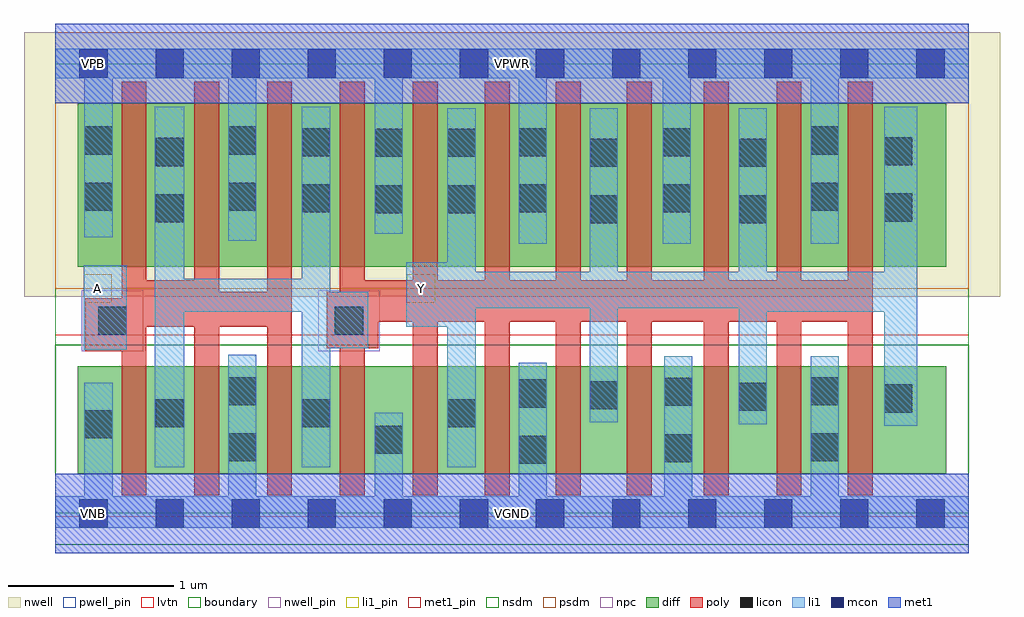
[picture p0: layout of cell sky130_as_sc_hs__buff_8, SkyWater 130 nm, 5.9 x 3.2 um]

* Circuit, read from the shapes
.subckt sky130_as_sc_hs__buff_8 A VGND VNB VPB VPWR Y
XM1 n1 A VGND VNB sky130_fd_pr__nfet_01v8_lvt w=0.65 l=0.15 m=3
XM2 VGND n1 n1 VNB sky130_fd_pr__nfet_01v8_lvt w=0.65 l=0.15
XM3 Y n1 VGND VNB sky130_fd_pr__nfet_01v8_lvt w=0.65 l=0.15 m=7
XM4 n1 A VPWR VPB sky130_fd_pr__pfet_01v8 w=0.99 l=0.15 m=3
XM5 VPWR n1 n1 VPB sky130_fd_pr__pfet_01v8 w=0.99 l=0.15
XM6 Y n1 VPWR VPB sky130_fd_pr__pfet_01v8 w=0.99 l=0.15 m=7
.ends

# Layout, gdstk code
import gdstk
lib = gdstk.Library(unit=1e-6, precision=1e-09)
def R(c, l, rs):  # rectangles x0, y0, x1, y1
    for r in rs: c.add(gdstk.rectangle(r[:2], r[2:], *l))
def A(c, l, x, y, w, h, nx, ny, dx, dy):  # array of equal rectangles
    R(c, l, [(x+i*dx, y+j*dy, x+i*dx+w, y+j*dy+h) for i in range(nx) for j in range(ny)])
nwell_pin = (64, 16)
nwell = (64, 20)
diff = (65, 20)
poly = (66, 20)
licon = (66, 44)
li1_pin = (67, 16)
li1 = (67, 20)
mcon = (67, 44)
met1_pin = (68, 16)
met1 = (68, 20)
nsdm = (93, 44)
psdm = (94, 20)
npc = (95, 20)
pwell_pin = (122, 16)
lvtn = (125, 44)
boundary = (235, 4)

sky130_as_sc_hs__buff_8 = lib.new_cell('sky130_as_sc_hs__buff_8')
R(sky130_as_sc_hs__buff_8, nwell_pin, [(0.145,2.635,0.315,2.805)])
R(sky130_as_sc_hs__buff_8, nwell, [(-0.19,1.31,5.71,2.91)])
R(sky130_as_sc_hs__buff_8, diff, [(0.135,0.24,5.385,0.89), (0.135,1.49,5.385,2.48)])
A(sky130_as_sc_hs__buff_8, poly, 2.595, 0.11, 0.15, 1.05, 3, 1, 0.43, 0)
A(sky130_as_sc_hs__buff_8, poly, 2.595, 1.41, 0.15, 1.2, 3, 1, 0.43, 0)
R(sky130_as_sc_hs__buff_8, poly, [(0.4,0.11,0.55,0.98), (0.84,0.11,0.99,1.13), (1.28,0.11,1.43,1.13), (1.72,0.11,1.87,1), (2.16,0.11,2.31,1.16), (3.92,0.11,4.07,1.16), (4.36,0.11,4.51,1.16), (4.79,0.11,4.94,1.16), (0.18,0.98,0.55,1.13), (1.64,1,1.95,1.16), (0.18,1.13,1.43,1.3), (1.64,1.16,4.94,1.34), (0.4,1.3,1.43,1.34), (0.4,1.34,0.99,1.41), (1.28,1.34,1.43,2.61), (1.72,1.34,4.94,1.41), (0.4,1.41,0.55,2.61), (0.84,1.41,0.99,2.61), (1.72,1.41,1.87,2.61), (2.16,1.41,2.31,2.61), (3.92,1.41,4.07,2.61), (4.36,1.41,4.51,2.61), (4.79,1.41,4.94,2.61)])
R(sky130_as_sc_hs__buff_8, licon, [(2.8,0.3,2.97,0.47), (3.68,0.31,3.85,0.48), (1.045,0.315,1.215,0.485), (4.565,0.315,4.735,0.485), (1.93,0.36,2.1,0.53), (0.175,0.455,0.345,0.625), (0.605,0.52,0.775,0.69), (1.49,0.52,1.66,0.69), (2.37,0.52,2.54,0.69), (5.01,0.61,5.18,0.78), (4.13,0.62,4.3,0.79), (3.23,0.63,3.4,0.8), (2.8,0.64,2.97,0.81), (3.68,0.65,3.85,0.82), (1.045,0.655,1.215,0.825), (4.565,0.655,4.735,0.825), (0.26,1.08,0.43,1.25), (1.69,1.08,1.86,1.25), (3.23,1.755,3.4,1.925), (4.13,1.755,4.3,1.925), (0.605,1.76,0.775,1.93), (5.01,1.765,5.18,1.935), (1.93,1.815,2.1,1.985), (2.37,1.815,2.54,1.985), (1.49,1.82,1.66,1.99), (2.8,1.82,2.97,1.99), (3.67,1.82,3.84,1.99), (0.175,1.83,0.345,2), (1.045,1.83,1.215,2), (4.565,1.83,4.735,2), (3.23,2.095,3.4,2.265), (4.13,2.095,4.3,2.265), (0.605,2.1,0.775,2.27), (5.01,2.105,5.18,2.275), (1.93,2.155,2.1,2.325), (2.37,2.155,2.54,2.325), (1.49,2.16,1.66,2.33), (2.8,2.16,2.97,2.33), (3.67,2.16,3.84,2.33), (0.175,2.17,0.345,2.34), (1.045,2.17,1.215,2.34), (4.565,2.17,4.735,2.34)])
R(sky130_as_sc_hs__buff_8, li1_pin, [(0.17,1.275,0.34,1.445), (2.125,1.275,2.295,1.445)])
R(sky130_as_sc_hs__buff_8, li1, [(0,-0.085,5.52,0.105), (0.175,0.105,0.345,0.79), (1.045,0.105,1.215,0.96), (1.93,0.105,2.1,0.61), (2.8,0.105,2.97,0.91), (3.68,0.105,3.85,0.95), (4.565,0.105,4.735,0.95), (0.6,0.28,0.78,1.22), (1.49,0.28,1.66,1), (2.37,0.28,2.54,1.13), (5.01,0.53,5.21,1.22), (4.13,0.54,4.3,1.22), (3.23,0.55,3.4,1.24), (0.17,0.99,0.43,1.5), (1.49,1,1.89,1.22), (2.12,1.13,2.54,1.24), (0.6,1.22,1.89,1.34), (4.13,1.22,5.21,1.24), (2.12,1.24,5.21,1.46), (0.6,1.34,1.66,1.42), (0.6,1.42,0.78,2.46), (1.49,1.42,1.66,2.46), (2.12,1.46,2.54,1.52), (3.23,1.46,3.4,2.45), (4.13,1.46,4.3,2.45), (5.01,1.46,5.21,2.46), (2.37,1.52,2.54,2.45), (2.8,1.63,2.97,2.63), (3.67,1.63,3.84,2.63), (4.565,1.63,4.735,2.63), (1.045,1.65,1.215,2.63), (0.175,1.67,0.345,2.63), (1.93,1.69,2.1,2.63), (0,2.63,5.52,2.81)])
A(sky130_as_sc_hs__buff_8, mcon, 0.145, -0.085, 0.17, 0.17, 12, 2, 0.46, 2.72)
R(sky130_as_sc_hs__buff_8, met1_pin, [(0,-0.24,5.52,0.24), (0.145,-0.085,0.315,0.085), (0,2.48,5.52,2.96), (0.145,2.635,0.315,2.805)])
R(sky130_as_sc_hs__buff_8, met1, [(0,-0.24,5.52,0.24), (0,2.48,5.52,2.96)])
R(sky130_as_sc_hs__buff_8, nsdm, [(0,-0.19,5.52,1.02)])
R(sky130_as_sc_hs__buff_8, psdm, [(0,1.36,5.52,2.91)])
R(sky130_as_sc_hs__buff_8, npc, [(0.16,0.98,0.53,1.35), (1.59,0.98,1.96,1.35)])
R(sky130_as_sc_hs__buff_8, pwell_pin, [(0.145,-0.085,0.315,0.085)])
R(sky130_as_sc_hs__buff_8, lvtn, [(0,-0.02,5.52,1.08)])
R(sky130_as_sc_hs__buff_8, boundary, [(0,0,5.52,2.72)])
sky130_as_sc_hs__buff_8.add(gdstk.Label('VNB', (0.23,0), layer=64, texttype=59))
sky130_as_sc_hs__buff_8.add(gdstk.Label('A', (0.255,1.36), layer=67, texttype=5))
sky130_as_sc_hs__buff_8.add(gdstk.Label('Y', (2.21,1.36), layer=67, texttype=5))
sky130_as_sc_hs__buff_8.add(gdstk.Label('VPB', (0.23,2.72), layer=64, texttype=5))
sky130_as_sc_hs__buff_8.add(gdstk.Label('VPB', (0.23,2.72), layer=64, texttype=5))
sky130_as_sc_hs__buff_8.add(gdstk.Label('VPWR', (2.76,2.72), layer=68, texttype=5))
sky130_as_sc_hs__buff_8.add(gdstk.Label('VPWR', (0.23,2.72), layer=68, texttype=5))
sky130_as_sc_hs__buff_8.add(gdstk.Label('VGND', (2.76,0), layer=68, texttype=5))
sky130_as_sc_hs__buff_8.add(gdstk.Label('VGND', (0.23,0), layer=68, texttype=5))
sky130_as_sc_hs__buff_8.add(gdstk.Label('VNB', (0.23,0), layer=64, texttype=59))
sky130_as_sc_hs__buff_8.add(gdstk.Label('A', (0.255,1.36), layer=67, texttype=5))
sky130_as_sc_hs__buff_8.add(gdstk.Label('Y', (2.21,1.36), layer=67, texttype=5))

lib.write_gds('sky130_as_sc_hs__buff_8.gds')
